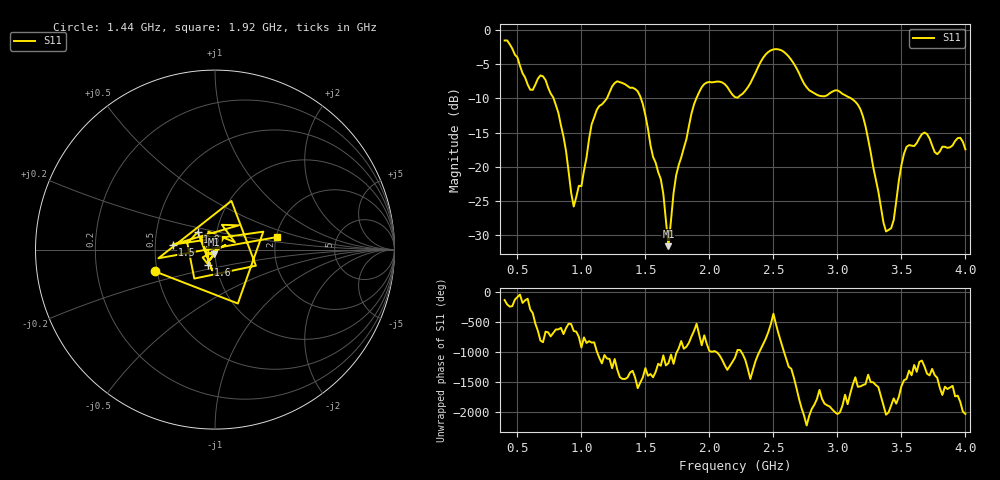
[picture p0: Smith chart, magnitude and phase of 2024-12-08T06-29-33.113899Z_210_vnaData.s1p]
!Created with skrf (http://scikit-rf.org).
# Hz S RI R 50.0
!freq ReS11 ImS11
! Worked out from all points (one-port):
!   181 points, 400 MHz to 4 GHz, reference 50 ohm
!   lowest |S11| = -31.6 dB at 1.68 GHz (marker M1), VSWR 1.05, Z = 49.2 - j2.5 ohm
!   |S11| at or under -10 dB: 782.3 MHz to 1.199 GHz (416.9 MHz wide, 42.1 % of centre); 1.465 GHz to 1.898 GHz (433.4 MHz wide, 25.8 % of centre); 3.106 GHz to end of sweep
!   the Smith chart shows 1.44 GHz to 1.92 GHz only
!   S11 on the Smith chart (normalised r, x): 1.44 GHz: 0.49, -0.14; 1.5 GHz: 0.62, +0.04; 1.6 GHz: 0.91, -0.15; 1.8 GHz: 0.81, +0.16; 1.92 GHz: 2.01, +0.32
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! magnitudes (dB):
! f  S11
! 400 MHz  -1.6
! 600 MHz  -8.7
! 720 MHz  -7.3
! 860 MHz  -15.6
! 940 MHz  -25.8
! 1.12 GHz  -11.7
! 1.3 GHz  -7.6
! 1.44 GHz  -9.0
! 1.5 GHz  -12.5
! 1.6 GHz  -20.8
! 1.64 GHz  -24.0
! 1.68 GHz  -31.6
! 1.76 GHz  -19.8
! 1.8 GHz  -17.3
! 1.92 GHz  -9.1
! 2.2 GHz  -9.8
! 2.48 GHz  -3.0
! 2.66 GHz  -4.9
! 2.78 GHz  -8.8
! 3.1 GHz  -9.9
! 3.2 GHz  -12.7
! 3.38 GHz  -29.4
! 3.44 GHz  -27.8
! 3.5 GHz  -19.8
! 3.56 GHz  -16.8
! 3.68 GHz  -15.0
! 3.78 GHz  -18.2
! 4 GHz  -17.5
